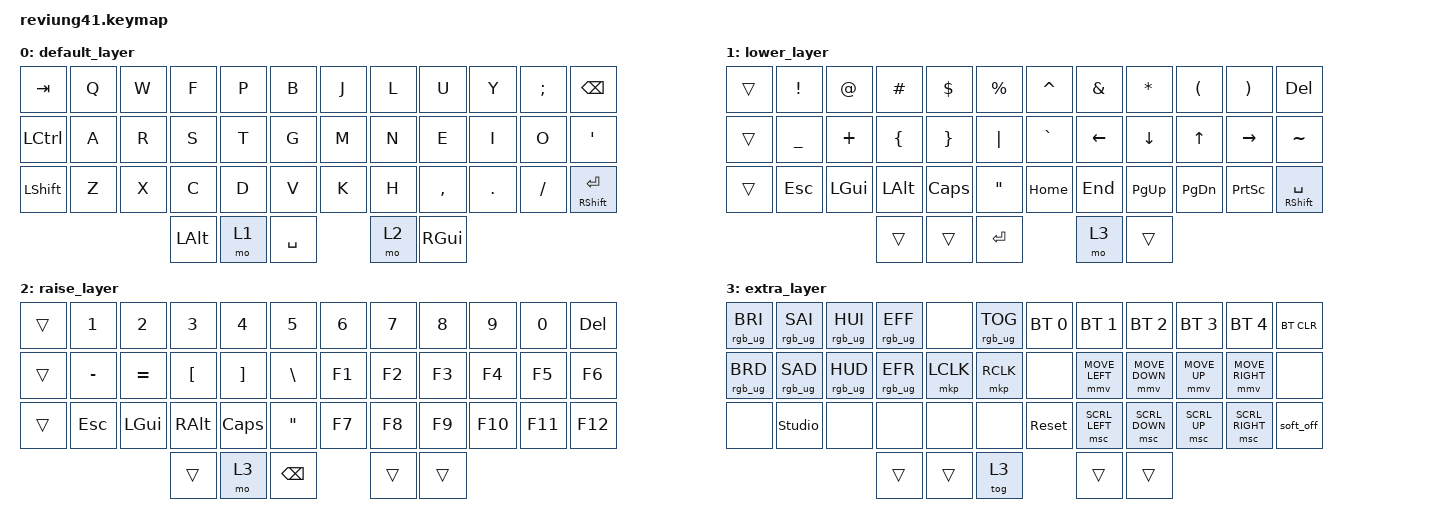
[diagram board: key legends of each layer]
/*
 * Copyright (c) 2020 The ZMK Contributors
 *
 * SPDX-License-Identifier: MIT
 */

#include <behaviors.dtsi>
#include <dt-bindings/zmk/keys.h>
#include <dt-bindings/zmk/bt.h>
#include <dt-bindings/zmk/rgb.h>

#define ZMK_POINTING_DEFAULT_MOVE_VAL 1200  // default: 600
#define ZMK_POINTING_DEFAULT_SCRL_VAL 20    // default: 10

#include <dt-bindings/zmk/pointing.h>

/ {
        chosen {
            zmk,battery = &vbatt;
        };

        vbatt: vbatt {
            compatible = "zmk,battery-nrf-vddh";
        };

        keymap {
                compatible = "zmk,keymap";

                default_layer {
// -------------------------------------------------------------------------------------
// |  TAB |  Q  |  W  |  F  |  P  |  B  |   |  J  |  L   |  U  |  Y  |  ;  |   BKSP    |
// | CTRL |  A  |  R  |  S  |  T  |  G  |   |  M  |  N   |  E  |  I  |  O  |    '      |
// | SHFT |  Z  |  X  |  C  |  D  |  V  |   |  K  |  H   |  ,  |  .  |  /  | SHFT(RET) |
//                         | ALT | LWR | SPC | RSE  | ALT |
                        bindings = <
   &kp TAB   &kp Q &kp W &kp F &kp P &kp B   &kp J &kp L  &kp U     &kp Y   &kp SEMI &kp BSPC
   &kp LCTRL &kp A &kp R &kp S &kp T &kp G   &kp M &kp N  &kp E     &kp I   &kp O    &kp SQT
   &kp LSHFT &kp Z &kp X &kp C &kp D &kp V   &kp K &kp H  &kp COMMA &kp DOT &kp FSLH &mt RSHFT RET
                        &kp LALT  &mo 1 &kp SPACE &mo 2  &kp RGUI
                        >;
                };

                lower_layer {
// ------------------------------------------------------------------------------------
// |    |  !  |  @  |  #  |  $  |  %  |   |  ^  |  &  |  *  |  (  |  )  |      DEL    |
// |    |  _  |  +  |  {  |  }  | "|" |   |  `  | LFT | DWN |  UP | RGT |       ~     |
// |    | ESC | GUI | ALT | CAPS|  "  |   | HOME| END | PGUP| PGDN| PRSC| SHFT(SPACE) |
//                       |     |     | RET | ADJ |     |
                        bindings = <
   &trans &kp EXCL  &kp AT      &kp HASH &kp DLLR &kp PRCNT      &kp CARET &kp AMPS &kp ASTRK &kp LPAR  &kp RPAR  &kp DEL
   &trans &kp UNDER &kp PLUS    &kp LBRC &kp RBRC &kp PIPE       &kp GRAVE &kp LEFT  &kp DOWN &kp UP    &kp RIGHT &kp TILDE
   &trans &kp ESC   &kp LGUI    &kp LALT &kp CLCK &kp DQT        &kp HOME  &kp END  &kp PG_UP &kp PG_DN &kp PSCRN &mt RSHFT SPACE
                                 &trans      &trans       &kp RET        &mo 3       &trans
                        >;
                };

                raise_layer {
// ----------------------------------------------------------------------------
// |    |  1  |  2  |  3  |  4  |  5  |   |  6  |  7  |  8  |  9  |  0  | DEL |
// |    |  -  |  =  |  [  |  ]  |  \  |   | F1  | F2  | F3  | F4  | F5  | F6  |
// |    | ESC | GUI | ALT | CAPS|  "  |   | F7  | F8  | F9  | F10 | F11 | F12 |
//                       |     | ADJ | BKSP |    |     |
                        bindings = <
   &trans &kp N1    &kp N2    &kp N3    &kp N4    &kp N5        &kp N6    &kp N7    &kp N8    &kp N9    &kp N0    &kp DEL
   &trans &kp MINUS &kp EQUAL &kp LBKT  &kp RBKT  &kp BSLH      &kp F1    &kp F2    &kp F3    &kp F4    &kp F5    &kp F6
   &trans &kp ESC   &kp LGUI  &kp RALT  &kp CLCK  &kp DQT       &kp F7    &kp F8    &kp F9    &kp F10   &kp F11   &kp F12
                                &trans      &mo 3       &kp BSPC        &trans      &trans
                        >;
                };

                extra_layer {
// ----------------------------------------------------------------------------------------------
// | RGB BRI+ | RGB SAT+ -----| RGB HUE+ | RGB ANI+ |      | RGB TOG |   |  BT1  | BT2  | BT3  | BT4  | BT5  | BT CLR |
// | RGB BRI- | RGB SAT- -----| RGB HUE- | RGB ANI- | LCLK | RCLK    |   |       | MMV← | MMV↓ | MMV↑ | MMV→ |        |
// |          | STUDIO UNLOCK |          |          |      |         |   | RESET | MSC← | MSC↓ | MSC↑ | MSC→ | OFF    |
//                                                 |     |     |     |     |     |
                        bindings = <
   &rgb_ug RGB_BRI &rgb_ug RGB_SAI &rgb_ug RGB_HUI &rgb_ug RGB_EFF &none &rgb_ug RGB_TOG    &bt BT_SEL 0 &bt BT_SEL 1 &bt BT_SEL 2 &bt BT_SEL 3 &bt BT_SEL 4 &bt BT_CLR
   &rgb_ug RGB_BRD &rgb_ug RGB_SAD &rgb_ug RGB_HUD &rgb_ug RGB_EFR &mkp LCLK &mkp RCLK      &none        &mmv MOVE_LEFT        &mmv MOVE_DOWN        &mmv MOVE_UP        &mmv MOVE_RIGHT        &none
   &none           &studio_unlock  &none           &none           &none &none              &sys_reset   &msc SCRL_LEFT        &msc SCRL_DOWN        &msc SCRL_UP        &msc SCRL_RIGHT        &soft_off
                                                             &trans      &trans       &tog 3        &trans      &trans
                        >;
                };
        };
};
